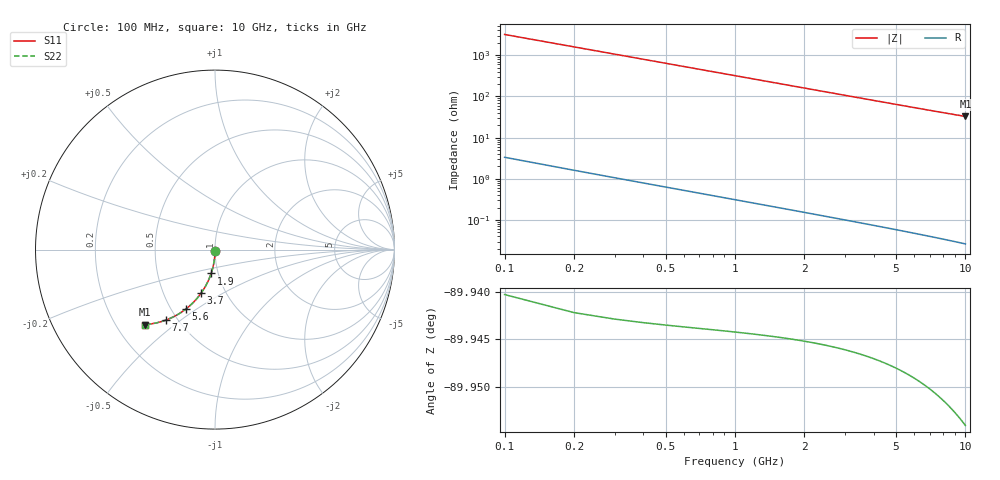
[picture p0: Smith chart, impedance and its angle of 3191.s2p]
# Hz S RI R 50.00
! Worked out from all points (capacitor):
!   100 points, 100 MHz to 10 GHz, reference 50 ohm
!   read as one part in shunt: C = 498 fF near 100 MHz
!   lowest |Z| = 32.7 ohm at 10 GHz (marker M1)
!   S11 on the Smith chart (normalised r, x): 100 MHz: 1.00, -0.01; 1.9 GHz: 0.93, -0.25; 3.7 GHz: 0.77, -0.40; 5.6 GHz: 0.59, -0.45; 7.7 GHz: 0.44, -0.44; 10 GHz: 0.32, -0.40
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1e8  0.000158 -0.00713  0.9997 -0.00851  0.9997 -0.00851  0.000158 -0.00713
2e8  -2.99e-05 -0.0143  0.9995 -0.017  0.9995 -0.017  -2.99e-05 -0.0143
3e8  -0.00034 -0.0214  0.9992 -0.0255  0.9992 -0.0255  -0.00034 -0.0214
4e8  -0.000771 -0.0285  0.9988 -0.034  0.9988 -0.034  -0.000771 -0.0285
5e8  -0.00132 -0.0356  0.9982 -0.0425  0.9982 -0.0425  -0.00132 -0.0356
6e8  -0.00199 -0.0427  0.9975 -0.051  0.9975 -0.051  -0.00199 -0.0427
8e8  -0.0037 -0.0568  0.9958 -0.0678  0.9958 -0.0678  -0.0037 -0.0568
1.1e9  -0.00715 -0.0779  0.9923 -0.093  0.9923 -0.093  -0.00715 -0.0779
1.4e9  -0.0116 -0.0987  0.9877 -0.1179  0.9877 -0.1179  -0.0116 -0.0987
1.8e9  -0.0192 -0.1258  0.98 -0.1507  0.98 -0.1507  -0.0192 -0.1258
1.9e9  -0.0214 -0.1325  0.9778 -0.1587  0.9778 -0.1587  -0.0214 -0.1325
2.2e9  -0.0286 -0.1523  0.9705 -0.1827  0.9705 -0.1827  -0.0286 -0.1523
2.6e9  -0.0396 -0.1779  0.9593 -0.2138  0.9593 -0.2138  -0.0396 -0.1779
3.4e9  -0.0662 -0.226  0.9322 -0.273  0.9322 -0.273  -0.0662 -0.226
3.7e9  -0.0775 -0.2428  0.9207 -0.294  0.9207 -0.294  -0.0775 -0.2428
4.4e9  -0.1066 -0.2791  0.891 -0.3401  0.891 -0.3401  -0.1066 -0.2791
5.1e9  -0.1387 -0.3112  0.8583 -0.3821  0.8583 -0.3821  -0.1387 -0.3112
5.6e9  -0.163 -0.3315  0.8335 -0.4094  0.8335 -0.4094  -0.163 -0.3315
6.7e9  -0.2192 -0.368  0.7759 -0.4616  0.7759 -0.4616  -0.2192 -0.368
7.7e9  -0.2718 -0.392  0.7219 -0.5  0.7219 -0.5  -0.2718 -0.392
8.4e9  -0.3085 -0.4038  0.6839 -0.522  0.6839 -0.522  -0.3085 -0.4038
1e10  -0.3901 -0.4175  0.5993 -0.5593  0.5993 -0.5593  -0.3901 -0.4175
